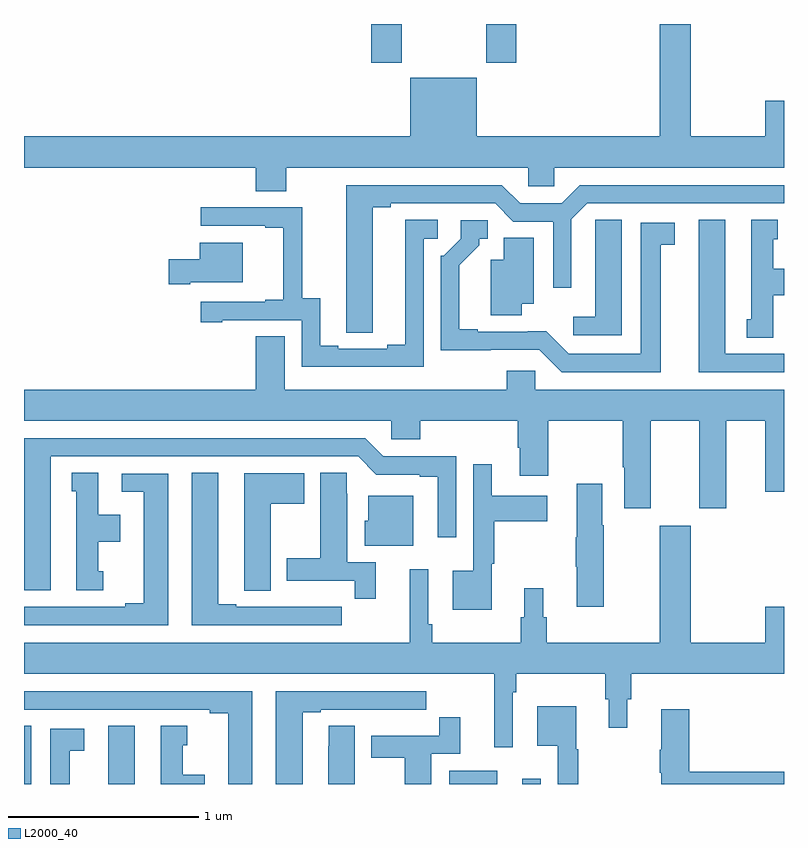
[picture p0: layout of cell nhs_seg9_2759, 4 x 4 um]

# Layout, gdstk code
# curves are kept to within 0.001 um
import gdstk
lib = gdstk.Library(unit=1e-6, precision=1e-09)
def R(c, l, rs):  # rectangles x0, y0, x1, y1
    for r in rs: c.add(gdstk.rectangle(r[:2], r[2:], *l))
def P(c, l, *ps):  # polygons
    for p in ps: c.add(gdstk.Polygon(p, *l))
L2000_40 = (2000, 40)

nhs_seg9_2759 = lib.new_cell('nhs_seg9_2759')
R(nhs_seg9_2759, L2000_40, [(269,1202.5,269.038,1202.807), (269.444,1202.5,269.584,1202.806), (271.238,1202.5,271.492,1202.569), (271.622,1202.5,271.719,1202.527), (270.827,1206.297,270.987,1206.5), (271.432,1206.297,271.592,1206.5)])
P(nhs_seg9_2759, L2000_40, [(270.381,1205.744),(271.653,1205.744),(271.653,1205.646),(271.791,1205.646),(271.791,1205.744),(273,1205.744),(273,1206.097),(272.9,1206.097),(272.9,1205.908),(272.509,1205.908),(272.509,1206.5),(272.345,1206.5),(272.345,1205.908),(271.384,1205.908),(271.384,1206.217),(271.034,1206.217),(271.034,1205.908),(269,1205.908),(269,1205.744),(270.221,1205.744),(270.221,1205.62),(270.381,1205.62)],
  [(270.835,1205.536),(270.931,1205.536),(270.931,1205.556),(271.479,1205.556),(271.575,1205.46),(271.785,1205.46),(271.785,1205.112),(271.881,1205.112),(271.881,1205.472),(271.965,1205.556),(273,1205.556),(273,1205.652),(271.925,1205.652),(271.829,1205.556),(271.611,1205.556),(271.515,1205.652),(270.695,1205.652),(270.696,1204.876),(270.835,1204.876)],
  [(271.104,1205.37),(271.177,1205.37),(271.177,1205.471),(271.007,1205.471),(271.007,1204.811),(270.911,1204.811),(270.911,1204.791),(270.655,1204.791),(270.655,1204.806),(270.559,1204.806),(270.559,1205.057),(270.465,1205.057),(270.465,1205.535),(269.931,1205.535),(269.931,1205.439),(270.269,1205.439),(270.269,1205.427),(270.365,1205.427),(270.365,1205.05),(270.269,1205.05),(270.269,1205.037),(269.931,1205.037),(269.931,1204.929),(270.043,1204.929),(270.043,1204.941),(270.462,1204.941),(270.462,1204.695),(271.104,1204.695)],
  [(272.146,1205.471),(272.007,1205.471),(272.007,1205.363),(272.006,1205.363),(272.006,1204.96),(271.89,1204.96),(271.89,1204.863),(272.146,1204.863)],
  [(272.944,1205.072),(273,1205.072),(273,1205.212),(272.944,1205.212),(272.944,1205.367),(272.968,1205.367),(272.968,1205.47),(272.828,1205.47),(272.828,1204.947),(272.804,1204.947),(272.804,1204.849),(272.944,1204.849)],
  [(273,1204.764),(272.692,1204.764),(272.692,1205.47),(272.552,1205.47),(272.552,1204.668),(273,1204.668)],
  [(272.35,1205.338),(272.425,1205.338),(272.425,1205.454),(272.246,1205.454),(272.246,1204.764),(271.866,1204.764),(271.748,1204.882),(271.387,1204.881),(271.387,1204.894),(271.291,1204.894),(271.291,1205.23),(271.396,1205.335),(271.396,1205.37),(271.441,1205.37),(271.441,1205.466),(271.299,1205.466),(271.299,1205.37),(271.209,1205.28),(271.194,1205.28),(271.194,1204.784),(271.713,1204.785),(271.83,1204.668),(272.35,1204.668)],
  [(271.621,1205.027),(271.684,1205.027),(271.684,1205.375),(271.526,1205.375),(271.526,1205.26),(271.457,1205.26),(271.457,1204.966),(271.621,1204.966)],
  [(269.875,1205.141),(270.151,1205.141),(270.151,1205.35),(269.924,1205.35),(269.924,1205.263),(269.763,1205.263),(269.763,1205.129),(269.875,1205.129)],
  [(272.299,1204.412),(272.555,1204.412),(272.555,1203.951),(272.695,1203.951),(272.695,1204.412),(272.9,1204.412),(272.9,1204.038),(273,1204.038),(273,1204.576),(271.692,1204.576),(271.692,1204.674),(271.541,1204.674),(271.541,1204.576),(270.373,1204.576),(270.373,1204.856),(270.221,1204.856),(270.221,1204.576),(269,1204.576),(269,1204.412),(270.933,1204.412),(270.933,1204.314),(271.085,1204.314),(271.085,1204.412),(271.598,1204.412),(271.598,1204.27),(271.61,1204.27),(271.61,1204.122),(271.758,1204.122),(271.758,1204.412),(272.152,1204.412),(272.152,1204.168),(272.159,1204.168),(272.159,1203.951),(272.299,1203.951)],
  [(269.14,1204.224),(270.759,1204.224),(270.855,1204.128),(271.082,1204.128),(271.082,1204.116),(271.178,1204.116),(271.178,1203.798),(271.275,1203.798),(271.275,1204.224),(270.891,1204.224),(270.795,1204.32),(269,1204.32),(269,1203.519),(269.14,1203.519)],
  [(271.462,1203.66),(271.474,1203.66),(271.474,1203.884),(271.753,1203.884),(271.753,1204.018),(271.462,1204.018),(271.462,1204.183),(271.365,1204.183),(271.365,1203.622),(271.256,1203.622),(271.256,1203.416),(271.462,1203.416)],
  [(270.851,1203.666),(270.7,1203.666),(270.7,1204.028),(270.699,1204.028),(270.699,1204.139),(270.56,1204.139),(270.56,1203.687),(270.383,1203.687),(270.383,1203.57),(270.742,1203.57),(270.742,1203.474),(270.851,1203.474)],
  [(269.416,1203.621),(269.392,1203.621),(269.392,1203.776),(269.506,1203.776),(269.506,1203.916),(269.392,1203.916),(269.392,1204.139),(269.252,1204.139),(269.252,1204.041),(269.276,1204.041),(269.276,1203.519),(269.416,1203.519)],
  [(270.673,1203.432),(270.56,1203.432),(270.56,1203.433),(270.394,1203.433),(270.394,1203.432),(270.118,1203.432),(270.118,1203.447),(270.022,1203.447),(270.022,1204.139),(269.882,1204.139),(269.882,1203.336),(270.673,1203.336)],
  [(270.298,1203.976),(270.475,1203.976),(270.475,1204.135),(270.158,1204.135),(270.158,1203.625),(270.159,1203.625),(270.159,1203.517),(270.298,1203.517)],
  [(269.758,1204.134),(269.514,1204.134),(269.514,1204.038),(269.63,1204.038),(269.63,1203.452),(269.534,1203.452),(269.534,1203.432),(269,1203.432),(269,1203.336),(269.758,1203.336)],
  [(272.052,1203.863),(272.044,1203.863),(272.044,1204.081),(271.91,1204.081),(271.91,1203.8),(271.903,1203.8),(271.903,1203.644),(271.91,1203.644),(271.91,1203.432),(272.052,1203.432)],
  [(271.048,1204.018),(270.812,1204.018),(270.812,1203.885),(270.794,1203.885),(270.794,1203.755),(271.048,1203.755)],
  [(272.059,1202.946),(272.078,1202.946),(272.078,1202.796),(272.176,1202.796),(272.176,1202.946),(272.195,1202.946),(272.195,1203.08),(273,1203.08),(273,1203.433),(272.9,1203.433),(272.9,1203.244),(272.509,1203.244),(272.509,1203.859),(272.345,1203.859),(272.345,1203.244),(271.751,1203.244),(271.751,1203.378),(271.732,1203.378),(271.732,1203.529),(271.634,1203.529),(271.634,1203.378),(271.615,1203.378),(271.615,1203.244),(271.148,1203.244),(271.148,1203.34),(271.128,1203.34),(271.128,1203.631),(271.031,1203.631),(271.031,1203.244),(269,1203.244),(269,1203.08),(271.475,1203.08),(271.475,1202.694),(271.572,1202.694),(271.572,1202.984),(271.592,1202.984),(271.592,1203.08),(272.059,1203.08)],
  [(270.466,1202.877),(270.562,1202.877),(270.562,1202.892),(270.838,1202.892),(270.838,1202.891),(271.004,1202.891),(271.004,1202.892),(271.117,1202.892),(271.117,1202.988),(270.326,1202.988),(270.326,1202.5),(270.466,1202.5)],
  [(270.202,1202.988),(269,1202.988),(269,1202.892),(269.978,1202.892),(269.978,1202.872),(270.074,1202.872),(270.074,1202.5),(270.202,1202.5)],
  [(271.918,1202.682),(271.906,1202.682),(271.906,1202.908),(271.7,1202.908),(271.7,1202.702),(271.809,1202.702),(271.809,1202.5),(271.918,1202.5)],
  [(273,1202.564),(272.501,1202.564),(272.501,1202.893),(272.354,1202.893),(272.354,1202.68),(272.347,1202.68),(272.347,1202.56),(272.354,1202.56),(272.354,1202.5),(273,1202.5)],
  [(271.144,1202.658),(271.295,1202.658),(271.295,1202.851),(271.186,1202.851),(271.186,1202.754),(270.827,1202.754),(270.827,1202.638),(271.004,1202.638),(271.004,1202.5),(271.144,1202.5)],
  [(270.742,1202.807),(270.603,1202.807),(270.603,1202.699),(270.602,1202.699),(270.602,1202.5),(270.742,1202.5)],
  [(269.95,1202.548),(269.836,1202.548),(269.836,1202.703),(269.86,1202.703),(269.86,1202.806),(269.72,1202.806),(269.72,1202.5),(269.95,1202.5)],
  [(269.242,1202.674),(269.317,1202.674),(269.317,1202.79),(269.138,1202.79),(269.138,1202.5),(269.242,1202.5)])

lib.write_gds('nhs_seg9_2759.gds')
